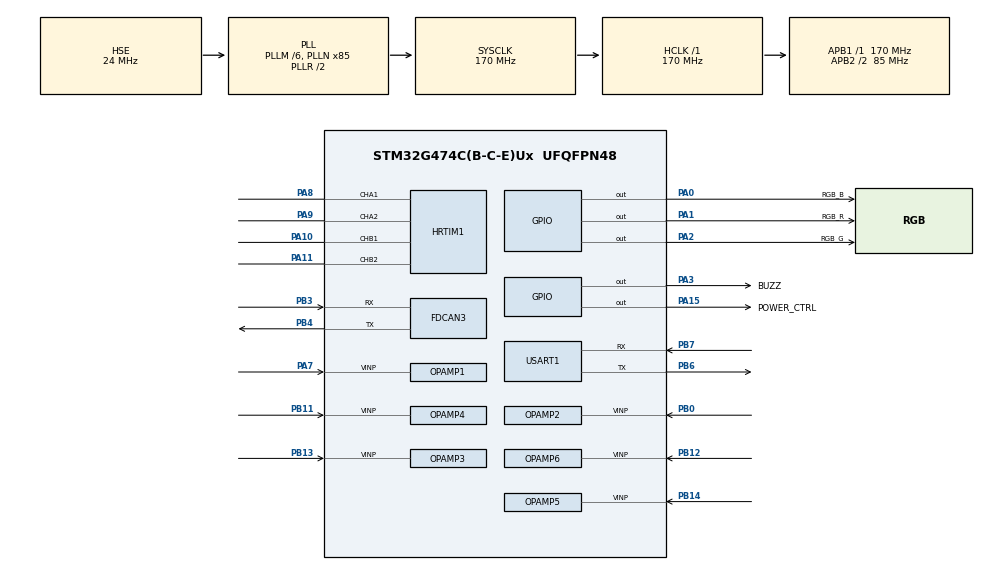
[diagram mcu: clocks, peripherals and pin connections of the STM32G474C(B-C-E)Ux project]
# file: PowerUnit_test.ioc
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ADC1.Channel-1\#ChannelRegularConversion=ADC_CHANNEL_VOPAMP1
ADC1.NbrOfConversionFlag=1
ADC1.OffsetNumber-1\#ChannelRegularConversion=ADC_OFFSET_NONE
ADC1.Rank-1\#ChannelRegularConversion=1
ADC1.SamplingTime-1\#ChannelRegularConversion=ADC_SAMPLETIME_2CYCLES_5
ADC1.master=1
ADC2.Channel-0\#ChannelRegularConversion=ADC_CHANNEL_VOPAMP2
ADC2.NbrOfConversionFlag=1
ADC2.OffsetNumber-0\#ChannelRegularConversion=ADC_OFFSET_NONE
ADC2.Rank-0\#ChannelRegularConversion=1
ADC2.SamplingTime-0\#ChannelRegularConversion=ADC_SAMPLETIME_2CYCLES_5
ADC3.Channel-0\#ChannelRegularConversion=ADC_CHANNEL_VOPAMP3_ADC3
ADC3.NbrOfConversionFlag=1
ADC3.OffsetNumber-0\#ChannelRegularConversion=ADC_OFFSET_NONE
ADC3.Rank-0\#ChannelRegularConversion=1
ADC3.SamplingTime-0\#ChannelRegularConversion=ADC_SAMPLETIME_2CYCLES_5
ADC3.master=1
ADC4.Channel-0\#ChannelRegularConversion=ADC_CHANNEL_VOPAMP6
ADC4.NbrOfConversionFlag=1
ADC4.OffsetNumber-0\#ChannelRegularConversion=ADC_OFFSET_NONE
ADC4.Rank-0\#ChannelRegularConversion=1
ADC4.SamplingTime-0\#ChannelRegularConversion=ADC_SAMPLETIME_2CYCLES_5
ADC5.Channel-0\#ChannelRegularConversion=ADC_CHANNEL_VOPAMP5
ADC5.NbrOfConversionFlag=1
ADC5.OffsetNumber-0\#ChannelRegularConversion=ADC_OFFSET_NONE
ADC5.Rank-0\#ChannelRegularConversion=1
ADC5.SamplingTime-0\#ChannelRegularConversion=ADC_SAMPLETIME_2CYCLES_5
FDCAN3.CalculateBaudRateNominal=999999
FDCAN3.CalculateTimeBitNominal=1000
FDCAN3.CalculateTimeQuantumNominal=58.82352941176471
FDCAN3.DataSyncJumpWidth=2
FDCAN3.DataTimeSeg1=13
FDCAN3.DataTimeSeg2=2
FDCAN3.ExtFiltersNbr=4
FDCAN3.NominalPrescaler=10
FDCAN3.NominalSyncJumpWidth=20
FDCAN3.NominalTimeSeg1=13
FDCAN3.NominalTimeSeg2=3
FDCAN3.StdFiltersNbr=4
Mcu.Family=STM32G4
Mcu.Name=STM32G474C(B-C-E)Ux
Mcu.Package=UFQFPN48
NVIC.FDCAN3_IT0_IRQn=true\:0\:0\:false\:false\:true\:true\:true\:true
NVIC.FDCAN3_IT1_IRQn=true\:0\:0\:false\:false\:true\:true\:true\:true
NVIC.PriorityGroup=NVIC_PRIORITYGROUP_4
OPAMP6.PowerMode=OPAMP_POWERMODE_HIGHSPEED
PA0.GPIO_Label=RGB_B
PA0.Signal=GPIO_Output
PA1.GPIO_Label=RGB_R
PA1.Signal=GPIO_Output
PA10.Mode=Output_TB1TB2
PA10.Signal=HRTIM1_CHB1
PA11.Mode=Output_TB1TB2
PA11.Signal=HRTIM1_CHB2
PA13.Mode=Serial_Wire
PA13.Signal=SYS_JTMS-SWDIO
PA14.Mode=Serial_Wire
PA14.Signal=SYS_JTCK-SWCLK
PA15.GPIO_Label=POWER_CTRL
PA15.Signal=GPIO_Output
PA2.GPIO_Label=RGB_G
PA2.Signal=GPIO_Output
PA3.GPIO_Label=BUZZ
PA3.Signal=GPIO_Output
PA7.Mode=Follower_Internally_Connected
PA7.Signal=OPAMP1_VINP
PA8.Mode=Output_TA1TA2
PA8.Signal=HRTIM1_CHA1
PA9.Mode=Output_TA1TA2
PA9.Signal=HRTIM1_CHA2
PB0.Mode=Follower_Internally_Connected
PB0.Signal=OPAMP2_VINP
PB11.Mode=Follower_Internally_Connected
PB11.Signal=OPAMP4_VINP
PB12.Mode=Follower_Internally_Connected
PB12.Signal=OPAMP6_VINP
PB13.Mode=Follower_Internally_Connected
PB13.Signal=OPAMP3_VINP
PB14.Mode=Follower_Internally_Connected
PB14.Signal=OPAMP5_VINP
PB3.Mode=FDCAN_Activate
PB3.Signal=FDCAN3_RX
PB4.Mode=FDCAN_Activate
PB4.Signal=FDCAN3_TX
PB6.Mode=Asynchronous
PB6.Signal=USART1_TX
PB7.Mode=Asynchronous
PB7.Signal=USART1_RX
PF0-OSC_IN.Mode=HSE-External-Oscillator
PF0-OSC_IN.Signal=RCC_OSC_IN
PF1-OSC_OUT.Mode=HSE-External-Oscillator
PF1-OSC_OUT.Signal=RCC_OSC_OUT
ProjectManager.HeapSize=0x200
ProjectManager.StackSize=0x400
ProjectManager.TargetToolchain=MDK-ARM V5.32
RCC.ADC12Freq_Value=170000000
RCC.ADC345Freq_Value=170000000
RCC.AHBFreq_Value=170000000
RCC.APB1Freq_Value=170000000
RCC.APB1TimFreq_Value=170000000
RCC.APB2CLKDivider=RCC_HCLK_DIV2
RCC.APB2Freq_Value=85000000
RCC.APB2TimFreq_Value=170000000
RCC.CortexFreq_Value=170000000
RCC.EXTERNAL_CLOCK_VALUE=12288000
RCC.HCLKFreq_Value=170000000
RCC.HSE_VALUE=24000000
RCC.HSI48_VALUE=48000000
RCC.HSI_VALUE=16000000
RCC.LSE_VALUE=32768
RCC.PLLM=RCC_PLLM_DIV6
RCC.PLLN=85
RCC.PLLQ=RCC_PLLQ_DIV4
RCC.PLLSourceVirtual=RCC_PLLSOURCE_HSE
RCC.SYSCLKFreq_VALUE=170000000
RCC.SYSCLKSource=RCC_SYSCLKSOURCE_PLLCLK
RCC.USBFreq_Value=85000000
RCC.VCOOutputFreq_Value=340000000
USART1.VirtualMode-Asynchronous=VM_ASYNC
VP_ADC1_OPAMP_INTERNAL1.Mode=IN-OPAMP1
VP_ADC2_OPAMP_INTERNAL2.Mode=IN-OPAMP2
VP_ADC3_OPAMP_INTERNAL3.Mode=IN-OPAMP3
VP_ADC4_OPAMP_INTERNAL6.Mode=IN-OPAMP6
VP_ADC5_OPAMP_INTERNAL4.Mode=IN-OPAMP4
VP_ADC5_OPAMP_INTERNAL5.Mode=IN-OPAMP5
VP_FMAC_VS_FMAC.Mode=FMAC_Activate
VP_HRTIM1_VS_hrtimMasterTimerNoOutput.Mode=MasterTimer
VP_SYS_VS_DBSignals.Mode=DisableDeadBatterySignals
board=custom

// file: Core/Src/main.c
/* USER CODE BEGIN Header */
/**
  ******************************************************************************
  * @file           : main.c
  * @brief          : Main program body
  ******************************************************************************
  * @attention
  *
  * Copyright (c) 2025 STMicroelectronics.
  * All rights reserved.
  *
  * This software is licensed under terms that can be found in the LICENSE file
  * in the root directory of this software component.
  * If no LICENSE file comes with this software, it is provided AS-IS.
  *
  ******************************************************************************
  */
/* USER CODE END Header */
#include "main.h"
#include "adc.h"
#include "fdcan.h"
#include "fmac.h"
#include "hrtim.h"
#include "opamp.h"
#include "usart.h"
#include "gpio.h"

/* USER CODE BEGIN Includes */

#include <stdio.h>
#include "bsp_fdcan.h"

/* USER CODE END Includes */

void SystemClock_Config(void);

/* USER CODE BEGIN 0 */

char *str  = "USART_TEST";
uint8_t tx_data[8] = {0,1,2,3,4,5,6,7};
/* USER CODE END 0 */

int main(void)
{

  /* MCU Configuration--------------------------------------------------------*/

  /* Reset of all peripherals, Initializes the Flash interface and the Systick. */
  HAL_Init();

  /* Configure the system clock */
  SystemClock_Config();

  /* Initialize all configured peripherals */
  MX_GPIO_Init();
  MX_ADC1_Init();
  MX_FDCAN3_Init();
  MX_HRTIM1_Init();
  MX_ADC2_Init();
  MX_ADC3_Init();
  MX_ADC4_Init();
  MX_ADC5_Init();
  MX_FMAC_Init();
  MX_OPAMP1_Init();
  MX_OPAMP2_Init();
  MX_OPAMP3_Init();
  MX_OPAMP4_Init();
  MX_OPAMP5_Init();
  MX_OPAMP6_Init();
  MX_USART1_UART_Init();
  /* USER CODE BEGIN 2 */

	bsp_can_init();

  /* USER CODE END 2 */

  /* Infinite loop */
  /* USER CODE BEGIN WHILE */
  while (1)
  {

		fdcanx_send_data(&hfdcan3, 0x520, tx_data, 8);
		HAL_Delay(100);

		printf("%s\r\n",str);

    /* USER CODE END WHILE */

    /* USER CODE BEGIN 3 */

	HAL_GPIO_WritePin (RGB_G_GPIO_Port ,RGB_G_Pin ,GPIO_PIN_RESET);
	HAL_Delay (100);
	HAL_GPIO_WritePin (RGB_G_GPIO_Port ,RGB_G_Pin ,GPIO_PIN_SET);
	HAL_Delay (100);
	HAL_GPIO_WritePin (RGB_B_GPIO_Port ,RGB_B_Pin ,GPIO_PIN_RESET);
	HAL_Delay (100);
	HAL_GPIO_WritePin (RGB_B_GPIO_Port ,RGB_B_Pin ,GPIO_PIN_SET);
	HAL_Delay (100);
	HAL_GPIO_WritePin (RGB_R_GPIO_Port ,RGB_R_Pin ,GPIO_PIN_RESET);
	HAL_Delay (100);
	HAL_GPIO_WritePin (RGB_R_GPIO_Port ,RGB_R_Pin ,GPIO_PIN_SET);
	HAL_Delay (100);

  }
  /* USER CODE END 3 */
}

void SystemClock_Config(void)
{
  RCC_OscInitTypeDef RCC_OscInitStruct = {0};
  RCC_ClkInitTypeDef RCC_ClkInitStruct = {0};

  /** Configure the main internal regulator output voltage
  */
  HAL_PWREx_ControlVoltageScaling(PWR_REGULATOR_VOLTAGE_SCALE1_BOOST);

  /** Initializes the RCC Oscillators according to the specified parameters
  * in the RCC_OscInitTypeDef structure.
  */
  RCC_OscInitStruct.OscillatorType = RCC_OSCILLATORTYPE_HSE;
  RCC_OscInitStruct.HSEState = RCC_HSE_ON;
  RCC_OscInitStruct.PLL.PLLState = RCC_PLL_ON;
  RCC_OscInitStruct.PLL.PLLSource = RCC_PLLSOURCE_HSE;
  RCC_OscInitStruct.PLL.PLLM = RCC_PLLM_DIV6;
  RCC_OscInitStruct.PLL.PLLN = 85;
  RCC_OscInitStruct.PLL.PLLP = RCC_PLLP_DIV2;
  RCC_OscInitStruct.PLL.PLLQ = RCC_PLLQ_DIV4;
  RCC_OscInitStruct.PLL.PLLR = RCC_PLLR_DIV2;
  if (HAL_RCC_OscConfig(&RCC_OscInitStruct) != HAL_OK)
  {
    Error_Handler();
  }

  /** Initializes the CPU, AHB and APB buses clocks
  */
  RCC_ClkInitStruct.ClockType = RCC_CLOCKTYPE_HCLK|RCC_CLOCKTYPE_SYSCLK
                              |RCC_CLOCKTYPE_PCLK1|RCC_CLOCKTYPE_PCLK2;
  RCC_ClkInitStruct.SYSCLKSource = RCC_SYSCLKSOURCE_PLLCLK;
  RCC_ClkInitStruct.AHBCLKDivider = RCC_SYSCLK_DIV1;
  RCC_ClkInitStruct.APB1CLKDivider = RCC_HCLK_DIV1;
  RCC_ClkInitStruct.APB2CLKDivider = RCC_HCLK_DIV2;

  if (HAL_RCC_ClockConfig(&RCC_ClkInitStruct, FLASH_LATENCY_4) != HAL_OK)
  {
    Error_Handler();
  }
}

/* USER CODE BEGIN 4 */

/*********************************************************
*
*重定义 fputc 函数
*
*********************************************************/

int fputc(int ch,FILE *f)
{
	HAL_UART_Transmit (&huart1 ,(uint8_t *)&ch,1,HAL_MAX_DELAY );
	return ch;
}

/* USER CODE END 4 */

void Error_Handler(void)
{
  __disable_irq();
  while (1)
  {
  }
}
